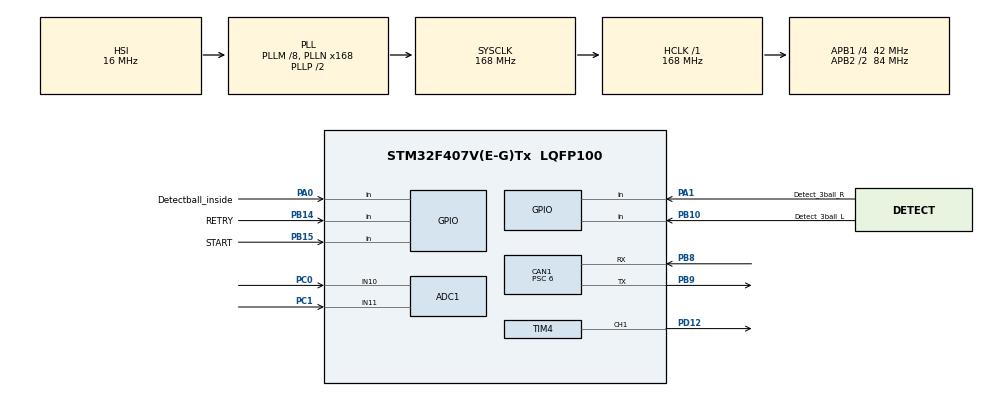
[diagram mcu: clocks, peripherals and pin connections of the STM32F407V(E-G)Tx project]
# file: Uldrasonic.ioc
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ADC1.Channel-0\#ChannelRegularConversion=ADC_CHANNEL_10
ADC1.Channel-1\#ChannelRegularConversion=ADC_CHANNEL_11
ADC1.ContinuousConvMode=ENABLE
ADC1.NbrOfConversion=2
ADC1.NbrOfConversionFlag=1
ADC1.Rank-0\#ChannelRegularConversion=1
ADC1.Rank-1\#ChannelRegularConversion=2
ADC1.SamplingTime-0\#ChannelRegularConversion=ADC_SAMPLETIME_3CYCLES
ADC1.SamplingTime-1\#ChannelRegularConversion=ADC_SAMPLETIME_3CYCLES
ADC1.master=1
CAN1.BS1=CAN_BS1_2TQ
CAN1.BS2=CAN_BS2_4TQ
CAN1.CalculateBaudRate=1000000
CAN1.CalculateTimeBit=1000
CAN1.CalculateTimeQuantum=142.85714285714286
CAN1.Prescaler=6
Dma.ADC1.0.Direction=DMA_PERIPH_TO_MEMORY
Dma.ADC1.0.FIFOMode=DMA_FIFOMODE_DISABLE
Dma.ADC1.0.Instance=DMA2_Stream0
Dma.ADC1.0.MemDataAlignment=DMA_MDATAALIGN_HALFWORD
Dma.ADC1.0.MemInc=DMA_MINC_ENABLE
Dma.ADC1.0.Mode=DMA_NORMAL
Dma.ADC1.0.PeriphDataAlignment=DMA_PDATAALIGN_HALFWORD
Dma.ADC1.0.PeriphInc=DMA_PINC_DISABLE
Dma.ADC1.0.Priority=DMA_PRIORITY_LOW
Dma.Request0=ADC1
FREERTOS.Tasks01=Button_Task,24,500,Button_Init,Default,NULL,Dynamic,NULL,NULL;HRS_04_Task,24,500,HRS_04_Init,Default,NULL,Dynamic,NULL,NULL
Mcu.Family=STM32F4
Mcu.Name=STM32F407V(E-G)Tx
Mcu.Package=LQFP100
NVIC.CAN1_RX0_IRQn=true\:5\:0\:false\:false\:true\:true\:true\:true\:true
NVIC.DMA2_Stream0_IRQn=true\:5\:0\:false\:false\:true\:true\:false\:true\:true
NVIC.PriorityGroup=NVIC_PRIORITYGROUP_4
NVIC.TIM2_IRQn=true\:5\:0\:false\:false\:true\:true\:true\:true\:true
NVIC.TIM3_IRQn=true\:5\:0\:false\:false\:true\:true\:true\:true\:true
NVIC.TIM5_IRQn=true\:5\:0\:false\:false\:true\:true\:true\:true\:true
NVIC.TIM6_DAC_IRQn=true\:15\:0\:false\:false\:true\:false\:false\:true\:true
NVIC.TimeBase=TIM6_DAC_IRQn
NVIC.TimeBaseIP=TIM6
PA0-WKUP.GPIO_Label=Detectball_inside
PA0-WKUP.Signal=GPIO_Input
PA1.GPIO_Label=Detect_3ball_R
PA1.Signal=GPIO_Input
PA13.Mode=Serial_Wire
PA13.Signal=SYS_JTMS-SWDIO
PA14.Mode=Serial_Wire
PA14.Signal=SYS_JTCK-SWCLK
PB10.GPIO_Label=Detect_3ball_L
PB10.Signal=GPIO_Input
PB14.GPIO_Label=RETRY
PB14.GPIO_PuPd=GPIO_NOPULL
PB14.Signal=GPIO_Input
PB15.GPIO_Label=START
PB15.GPIO_PuPd=GPIO_NOPULL
PB15.Signal=GPIO_Input
PB8.Mode=CAN_Activate
PB8.Signal=CAN1_RX
PB9.Mode=CAN_Activate
PB9.Signal=CAN1_TX
PC0.Signal=ADCx_IN10
PC1.Signal=ADCx_IN11
PD12.Signal=S_TIM4_CH1
PH0-OSC_IN.Mode=HSE-External-Oscillator
PH0-OSC_IN.Signal=RCC_OSC_IN
PH1-OSC_OUT.Mode=HSE-External-Oscillator
PH1-OSC_OUT.Signal=RCC_OSC_OUT
ProjectManager.HeapSize=0x200
ProjectManager.StackSize=0x400
ProjectManager.TargetToolchain=STM32CubeIDE
RCC.48MHZClocksFreq_Value=84000000
RCC.AHBFreq_Value=168000000
RCC.APB1CLKDivider=RCC_HCLK_DIV4
RCC.APB1Freq_Value=42000000
RCC.APB1TimFreq_Value=84000000
RCC.APB2CLKDivider=RCC_HCLK_DIV2
RCC.APB2Freq_Value=84000000
RCC.APB2TimFreq_Value=168000000
RCC.CortexFreq_Value=168000000
RCC.HCLKFreq_Value=168000000
RCC.HSE_VALUE=25000000
RCC.HSI_VALUE=16000000
RCC.LSE_VALUE=32768
RCC.PLLM=8
RCC.PLLN=168
RCC.SYSCLKFreq_VALUE=168000000
RCC.SYSCLKSource=RCC_SYSCLKSOURCE_PLLCLK
RCC.VCOOutputFreq_Value=336000000
SH.ADCx_IN10.0=ADC1_IN10,IN10
SH.ADCx_IN11.0=ADC1_IN11,IN11
SH.S_TIM4_CH1.0=TIM4_CH1,PWM Generation1 CH1
TIM1.AutoReloadPreload=TIM_AUTORELOAD_PRELOAD_ENABLE
TIM1.Prescaler=167
TIM2.Period=65535
TIM2.Prescaler=83
TIM3.AutoReloadPreload=TIM_AUTORELOAD_PRELOAD_ENABLE
TIM3.Period=9999
TIM3.Prescaler=83
TIM4.AutoReloadPreload=TIM_AUTORELOAD_PRELOAD_ENABLE
TIM4.Channel-PWM\ Generation1\ CH1=TIM_CHANNEL_1
TIM4.Period=9999
TIM4.Prescaler=15
TIM5.Period=9999
TIM5.Prescaler=167
VP_FREERTOS_VS_CMSIS_V2.Mode=CMSIS_V2
VP_SYS_VS_tim6.Mode=TIM6
VP_TIM1_VS_ClockSourceINT.Mode=Internal
VP_TIM2_VS_ClockSourceINT.Mode=Internal
VP_TIM3_VS_ClockSourceINT.Mode=Internal
VP_TIM5_VS_ClockSourceINT.Mode=Internal
board=custom

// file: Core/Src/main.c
/* USER CODE BEGIN Header */
/**
  ******************************************************************************
  * @file           : main.c
  * @brief          : Main program body
  ******************************************************************************
  * @attention
  *
  * Copyright (c) 2024 STMicroelectronics.
  * All rights reserved.
  *
  * This software is licensed under terms that can be found in the LICENSE file
  * in the root directory of this software component.
  * If no LICENSE file comes with this software, it is provided AS-IS.
  *
  ******************************************************************************
  */
/* USER CODE END Header */
#include "main.h"
#include "cmsis_os.h"
#include "adc.h"
#include "can.h"
#include "dma.h"
#include "tim.h"
#include "gpio.h"

/* USER CODE BEGIN PTD */
CAN_RxHeaderTypeDef RxHeader;
CAN_TxHeaderTypeDef TxHeader;
/* USER CODE END PTD */

/* USER CODE BEGIN PD */
// Uldrasonic

/* USER CODE END PD */

/* USER CODE BEGIN PV */
// CAN
uint8_t RxData[8];
uint8_t TxData[8];
uint32_t TxMailbox;
int datacheck = 0;
uint8_t cntt;
float RxData1 = 0;
float RxData2 = 0;
float RxData3 = 0;
float RxData4 = 0;
uint8_t state;
extern uint8_t ball_aready;

// Uldrasonic
extern uint16_t Distance_Uldra;  // cm
extern uint16_t Distance_Uldra2;
uint8_t j;
int x;

// LASER
uint16_t AD_RES[2];
float Cm_X;
float Cm_Y;
float laserx;
float lasery;
uint16_t LaserX;
uint16_t LaserY;
extern uint8_t button;
extern uint16_t ADC2_read[2];
extern uint8_t check_threeball ;
extern uint8_t check_ballinside;

int z;
/* USER CODE END PV */

void SystemClock_Config(void);
void MX_FREERTOS_Init(void);
/* USER CODE BEGIN PFP */
float map(float Input, float Min_Input, float Max_Input, float Min_Output,
		float Max_Output) {

	return (float) ((Input - Min_Input) * (Max_Output - Min_Output)
			/ (Max_Input - Min_Input) + Min_Output);
}
//void servo_rotation(uint16_t deg) // degree input from 0 to 180
//{
//	pwm_servo = map(deg,0,180,1900,9600);
//	TIM4->CCR1 = pwm_servo;
//}
void HAL_CAN_RxFifo0MsgPendingCallback(CAN_HandleTypeDef *hcan) {
	HAL_CAN_GetRxMessage(hcan, CAN_RX_FIFO0, &RxHeader, RxData);
		cntt++;
		while (cntt - 100 > 0) {
			//HAL_GPIO_TogglePin(GPIOC, GPIO_PIN_13);
			cntt = 0;
		}

	if (RxHeader.StdId == 0x222) {
				state = RxData[0];
		}
}

/* USER CODE END PFP */

int main(void)
{

  /* MCU Configuration--------------------------------------------------------*/

  /* Reset of all peripherals, Initializes the Flash interface and the Systick. */
  HAL_Init();

  /* Configure the system clock */
  SystemClock_Config();

  /* Initialize all configured peripherals */
  MX_GPIO_Init();
  MX_DMA_Init();
  MX_CAN1_Init();
  MX_TIM1_Init();
  MX_TIM3_Init();
  MX_TIM4_Init();
  MX_ADC1_Init();
  MX_TIM5_Init();
  MX_TIM2_Init();
  /* USER CODE BEGIN 2 */
  /*** Configure CAN ***/
    HAL_CAN_Start(&hcan1);
    HAL_CAN_ActivateNotification(&hcan1, CAN_IT_RX_FIFO0_MSG_PENDING);
    TxHeader.DLC = 8;
    TxHeader.IDE = CAN_ID_STD;
    TxHeader.RTR = CAN_RTR_DATA;
    TxHeader.StdId = 0x409;
  /*** Configure TIMER ***/
    HAL_TIM_Base_Start_IT(&htim3);
    HAL_TIM_Base_Start_IT(&htim5);
//    HAL_TIM_PWM_Start(&htim4, TIM_CHANNEL_1);
  /** Configure VL53L0X ***/

  /* USER CODE END 2 */

  /* Init scheduler */
  osKernelInitialize();  /* Call init function for freertos objects (in freertos.c) */
  MX_FREERTOS_Init();

  /* Start scheduler */
  osKernelStart();
  /* We should never get here as control is now taken by the scheduler */
  /* Infinite loop */
  while (1)
  {

  }
}

void SystemClock_Config(void)
{
  RCC_OscInitTypeDef RCC_OscInitStruct = {0};
  RCC_ClkInitTypeDef RCC_ClkInitStruct = {0};

  /** Configure the main internal regulator output voltage
  */
  __HAL_RCC_PWR_CLK_ENABLE();
  __HAL_PWR_VOLTAGESCALING_CONFIG(PWR_REGULATOR_VOLTAGE_SCALE1);

  /** Initializes the RCC Oscillators according to the specified parameters
  * in the RCC_OscInitTypeDef structure.
  */
  RCC_OscInitStruct.OscillatorType = RCC_OSCILLATORTYPE_HSI;
  RCC_OscInitStruct.HSIState = RCC_HSI_ON;
  RCC_OscInitStruct.HSICalibrationValue = RCC_HSICALIBRATION_DEFAULT;
  RCC_OscInitStruct.PLL.PLLState = RCC_PLL_ON;
  RCC_OscInitStruct.PLL.PLLSource = RCC_PLLSOURCE_HSI;
  RCC_OscInitStruct.PLL.PLLM = 8;
  RCC_OscInitStruct.PLL.PLLN = 168;
  RCC_OscInitStruct.PLL.PLLP = RCC_PLLP_DIV2;
  RCC_OscInitStruct.PLL.PLLQ = 4;
  if (HAL_RCC_OscConfig(&RCC_OscInitStruct) != HAL_OK)
  {
    Error_Handler();
  }

  /** Initializes the CPU, AHB and APB buses clocks
  */
  RCC_ClkInitStruct.ClockType = RCC_CLOCKTYPE_HCLK|RCC_CLOCKTYPE_SYSCLK
                              |RCC_CLOCKTYPE_PCLK1|RCC_CLOCKTYPE_PCLK2;
  RCC_ClkInitStruct.SYSCLKSource = RCC_SYSCLKSOURCE_PLLCLK;
  RCC_ClkInitStruct.AHBCLKDivider = RCC_SYSCLK_DIV1;
  RCC_ClkInitStruct.APB1CLKDivider = RCC_HCLK_DIV4;
  RCC_ClkInitStruct.APB2CLKDivider = RCC_HCLK_DIV2;

  if (HAL_RCC_ClockConfig(&RCC_ClkInitStruct, FLASH_LATENCY_5) != HAL_OK)
  {
    Error_Handler();
  }
}

void HAL_TIM_PeriodElapsedCallback(TIM_HandleTypeDef *htim)
{
  /* USER CODE BEGIN Callback 0 */
	if (htim->Instance == TIM3)
		{
//		if (button== 1 || button==2)
//		{
//			servo_rotation(90);
////			osDelay(1000);
////			servo_rotation(0);
//		}

		HAL_ADC_Start_DMA(&hadc1, &AD_RES, 2);
//		Cm_X = (AD_RES[0]*0.08502) + 1.727;
//		Cm_Y = (AD_RES[1]*0.08615) + 3.84;  // When RED
//		Cm_Y = (AD_RES[1]*0.154) - 2.169; // When Blue
		/*Calculation distance in Meter*/
		laserx = ((Cm_X) / 100.0f); //aready
		lasery = ((Cm_Y) / 100.0f);

		TxData[0] = ball_aready;
		TxData[1] = ((AD_RES[0] & 0xFF00) >> 8);
		TxData[2] = (AD_RES[0] & 0x00FF);
		TxData[3] = ((AD_RES[1] & 0xFF00) >> 8);
		TxData[4] = (AD_RES[1] & 0x00FF);
		TxData[5] = button;
		TxData[6] = check_threeball;
//		TxData[7] = check_ballinside;
		HAL_CAN_AddTxMessage(&hcan1, &TxHeader, TxData, &TxMailbox);

		}

  /* USER CODE END Callback 0 */
  if (htim->Instance == TIM6) {
    HAL_IncTick();
  }
}

void Error_Handler(void)
{
  __disable_irq();
  while (1)
  {
  }
}

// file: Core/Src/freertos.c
/* USER CODE BEGIN Header */
/**
  ******************************************************************************
  * File Name          : freertos.c
  * Description        : Code for freertos applications
  ******************************************************************************
  * @attention
  *
  * Copyright (c) 2024 STMicroelectronics.
  * All rights reserved.
  *
  * This software is licensed under terms that can be found in the LICENSE file
  * in the root directory of this software component.
  * If no LICENSE file comes with this software, it is provided AS-IS.
  *
  ******************************************************************************
  */
/* USER CODE END Header */

#include "FreeRTOS.h"
#include "task.h"
#include "main.h"
#include "cmsis_os.h"

/* USER CODE BEGIN Includes */
#include "tim.h"
#include "adc.h"
//#include "time.h"
/* USER CODE END Includes */

/* USER CODE BEGIN PD */
#define TRIG_PIN GPIO_PIN_8
#define TRIG_PORT GPIOA
#define ECHO_PIN GPIO_PIN_9
#define ECHO_PORT GPIOC
#define TRIG2_PIN GPIO_PIN_10
#define TRIG2_PORT GPIOB
#define ECHO2_PIN GPIO_PIN_11
#define ECHO2_PORT GPIOB
/* USER CODE END PD */

/* USER CODE BEGIN Variables */
uint16_t Distance_Uldra  = 0;
uint16_t Distance_Uldra2 = 0;
uint32_t pMillis;
uint32_t Value1 = 0;
uint32_t Value2 = 0;
uint32_t pMillis2;
uint32_t Value11 = 0;
uint32_t Value22 = 0;
uint8_t button =0;
uint16_t ADC2_read[2];
int gg;
uint8_t ball_aready = 0;
uint8_t check_threeball = 0;
uint8_t check_ballinside = 0;
uint16_t pwm_servo;
uint8_t degree;
/* USER CODE END Variables */
/* Definitions for Button_Task */
osThreadId_t Button_TaskHandle;
const osThreadAttr_t Button_Task_attributes = {
  .name = "Button_Task",
  .stack_size = 500 * 4,
  .priority = (osPriority_t) osPriorityNormal,
};
/* Definitions for HRS_04_Task */
osThreadId_t HRS_04_TaskHandle;
const osThreadAttr_t HRS_04_Task_attributes = {
  .name = "HRS_04_Task",
  .stack_size = 500 * 4,
  .priority = (osPriority_t) osPriorityNormal,
};

/* USER CODE BEGIN FunctionPrototypes */
float Map(float Input, float Min_Input, float Max_Input, float Min_Output,
		float Max_Output) {

	return (float) ((Input - Min_Input) * (Max_Output - Min_Output)
			/ (Max_Input - Min_Input) + Min_Output);
}
void servo_rotation(uint16_t deg) // degree input from 0 to 180
{
	pwm_servo = Map(deg,0,180,1900,9600);
	TIM4->CCR1 = pwm_servo;
}
//void servo_rotation(uint16_t deg) // degree input from 0 to 180
//{
//	pwm_servo = map(deg,0,180,1900,9600);
//	TIM4->CCR1 = pwm_servo;
//}
/* USER CODE END FunctionPrototypes */

void Button_Init(void *argument);
void HRS_04_Init(void *argument);

void MX_FREERTOS_Init(void); /* (MISRA C 2004 rule 8.1) */

void MX_FREERTOS_Init(void) {

  /* Create the thread(s) */
  /* creation of Button_Task */
  Button_TaskHandle = osThreadNew(Button_Init, NULL, &Button_Task_attributes);

  /* creation of HRS_04_Task */
  HRS_04_TaskHandle = osThreadNew(HRS_04_Init, NULL, &HRS_04_Task_attributes);

}

void Button_Init(void *argument)
{
  /* USER CODE BEGIN Button_Init */
	 HAL_TIM_PWM_Start(&htim4, TIM_CHANNEL_1);
  /* Infinite loop */
  for(;;)
  {
		if (!(HAL_GPIO_ReadPin(GPIOB, GPIO_PIN_14))) {
			button = 1;
			servo_rotation(90);
			osDelay(1000);
			servo_rotation(0);
		}
		else if (!(HAL_GPIO_ReadPin(GPIOB, GPIO_PIN_15)))
		{
			button = 2;
			servo_rotation(90);
			osDelay(1000);
			servo_rotation(0);
		}
		else {
			button = 0;
		}
    osDelay(10);
  }
  /* USER CODE END Button_Init */
}

void HRS_04_Init(void *argument)
{
  /* USER CODE BEGIN HRS_04_Init */
	/*** Configure ULDRASONIC ***/
//		HAL_TIM_Base_Start(&htim1);
//		HAL_GPIO_WritePin(TRIG2_PORT, TRIG2_PIN, GPIO_PIN_RESET); // pull the TRIG pin low
  /* Infinite loop */
  for(;;)
  {

	  if (!(HAL_GPIO_ReadPin(GPIOA, GPIO_PIN_0))) {
		  ball_aready = 1;
	  		}

	  		else {
	  			ball_aready = 0;
	  		}
	  if (!(HAL_GPIO_ReadPin(GPIOA, GPIO_PIN_1)) || (!(HAL_GPIO_ReadPin(GPIOB, GPIO_PIN_10))))
			  {
		  	  	  check_threeball = 1;
			  }
	  else
	  {
		  check_threeball = 0;
	  }
//	  if ((HAL_GPIO_ReadPin(GPIOD, GPIO_PIN_13)))
//	  			 	  {
//	  			 		  check_ballinside = 1;
//	  			 	  }
//	  			 	  else
//	  			 	  {
//	  			 		  check_ballinside = 0;
//	  			 	  }
    osDelay(50);
  }
  /* USER CODE END HRS_04_Init */
}
